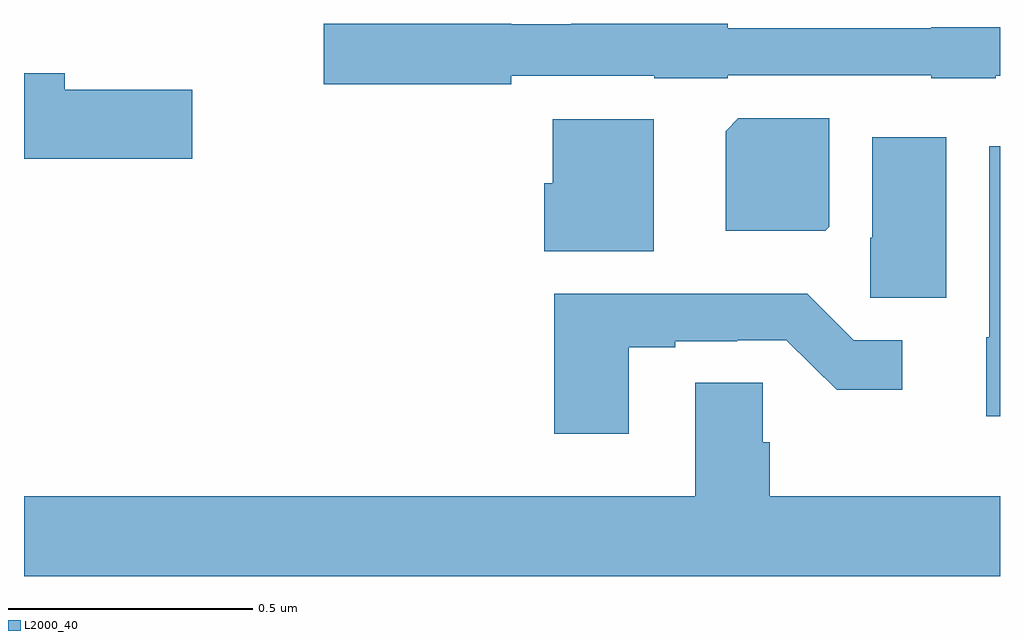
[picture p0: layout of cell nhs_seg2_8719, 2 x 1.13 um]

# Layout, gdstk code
import gdstk
lib = gdstk.Library(unit=1e-6, precision=1e-09)
def P(c, l, *ps):  # polygons
    for p in ps: c.add(gdstk.Polygon(p, *l))
L2000_40 = (2000, 40)

nhs_seg2_8719 = lib.new_cell('nhs_seg2_8719')
P(nhs_seg2_8719, L2000_40, [(220.998,616.694),(221.292,616.694),(221.292,616.688),(221.442,616.688),(221.442,616.695),(221.859,616.695),(221.859,616.688),(221.991,616.688),(221.991,616.694),(222,616.694),(222,616.793),(221.859,616.793),(221.859,616.791),(221.442,616.791),(221.442,616.8),(221.121,616.8),(221.121,616.799),(220.998,616.799),(220.998,616.8),(220.614,616.8),(220.614,616.676),(220.998,616.676)],
  [(220.345,616.665),(220.084,616.665),(220.084,616.699),(220,616.699),(220,616.523),(220.345,616.523)],
  [(221.65,616.384),(221.65,616.606),(221.464,616.606),(221.438,616.58),(221.438,616.376),(221.642,616.376)],
  [(221.29,616.604),(221.084,616.604),(221.084,616.473),(221.066,616.473),(221.066,616.334),(221.29,616.334)],
  [(221.89,616.567),(221.738,616.567),(221.738,616.362),(221.734,616.362),(221.734,616.239),(221.89,616.239)],
  [(222,616.549),(221.978,616.549),(221.978,616.158),(221.972,616.158),(221.972,615.996),(222,615.996)],
  [(221.239,616.137),(221.335,616.137),(221.335,616.149),(221.462,616.149),(221.462,616.152),(221.562,616.152),(221.665,616.05),(221.8,616.05),(221.8,616.152),(221.7,616.152),(221.605,616.247),(221.087,616.247),(221.087,615.96),(221.239,615.96)],
  [(222,615.832),(221.528,615.832),(221.528,615.942),(221.514,615.942),(221.514,616.064),(221.375,616.064),(221.375,615.832),(220,615.832),(220,615.668),(222,615.668)])

lib.write_gds('nhs_seg2_8719.gds')
